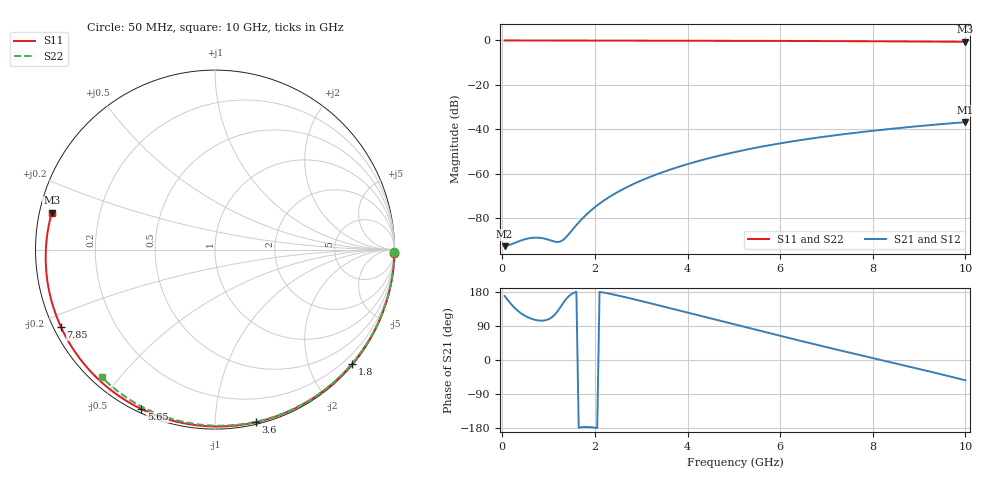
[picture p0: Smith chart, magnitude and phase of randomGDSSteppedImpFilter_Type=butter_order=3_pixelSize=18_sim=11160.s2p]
! freq	dB(S11)	phase(S11)	dB(S12)	phase(S12)
!  dB(S21)	phase(S21)	dB(S22)	phase(S22)
!S-par simulation data
#  GHz  S  DB  R 50
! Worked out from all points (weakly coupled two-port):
!   200 points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, 50 MHz to 10 GHz, reference 50 ohm
!   highest |S21| = -36.79 dB at 10 GHz (marker M1); lowest = -92.6 dB at 50 MHz (marker M2)
!   lowest |S11| = -0.6 dB at 10 GHz (marker M3), VSWR 28.51, Z = 1.78 + j5.57 ohm
!   |S11| at or under -10 dB: nowhere
!   |S22| runs from -0.4 to 0.0 dB; largest |S21 - S12| = 0
!   S11 on the Smith chart (normalised r, x): 50 MHz: open; 1.8 GHz: 0.03, -2.77; 3.6 GHz: 0.02, -1.27; 5.65 GHz: 0.02, -0.64; 7.85 GHz: 0.02, -0.24; 10 GHz: 0.04, +0.11
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0.05  -0.00 -1.1  -92.62 168.9  -92.62 168.9  -0.00 -0.8
0.45  -0.01 -10.1  -89.74 119.6  -89.74 119.6  -0.01 -6.8
0.85  -0.02 -19.0  -88.97 103.8  -88.97 103.8  -0.02 -12.9
1.25  -0.03 -27.8  -90.55 138.7  -90.55 138.7  -0.02 -18.9
1.7  -0.05 -37.5  -80.79 -177.4  -80.79 -177.4  -0.03 -25.5
1.75  -0.05 -38.6  -79.72 -176.9  -79.72 -176.9  -0.03 -26.3
1.8  -0.05 -39.7  -78.69 -176.7  -78.69 -176.7  -0.03 -27.0
2.1  -0.06 -46.1  -73.46 179.8  -73.46 179.8  -0.04 -31.4
2.45  -0.07 -53.4  -68.74 171.5  -68.74 171.5  -0.05 -36.5
2.9  -0.08 -62.6  -63.98 158.7  -63.98 158.7  -0.06 -42.9
3.4  -0.09 -72.7  -59.78 143.6  -59.78 143.6  -0.07 -50.0
3.6  -0.10 -76.6  -58.32 137.5  -58.32 137.5  -0.07 -52.8
4.3  -0.13 -90.1  -53.92 116.0  -53.92 116.0  -0.09 -62.4
5.05  -0.16 -104.0  -50.13 92.8  -50.13 92.8  -0.11 -72.3
5.65  -0.19 -114.8  -47.61 74.4  -47.61 74.4  -0.13 -80.1
6.15  -0.22 -123.7  -45.80 59.3  -45.80 59.3  -0.15 -86.4
6.7  -0.25 -133.3  -44.06 42.8  -44.06 42.8  -0.18 -93.2
7.3  -0.30 -143.8  -42.39 25.2  -42.39 25.2  -0.21 -100.5
7.85  -0.35 -153.4  -41.03 9.3  -41.03 9.3  -0.25 -107.0
8.35  -0.40 -162.2  -39.90 -5.0  -39.90 -5.0  -0.29 -112.8
9.2  -0.50 -177.6  -38.17 -29.5  -38.17 -29.5  -0.36 -122.6
10  -0.61 167.3  -36.79 -53.6  -36.79 -53.6  -0.44 -131.7
